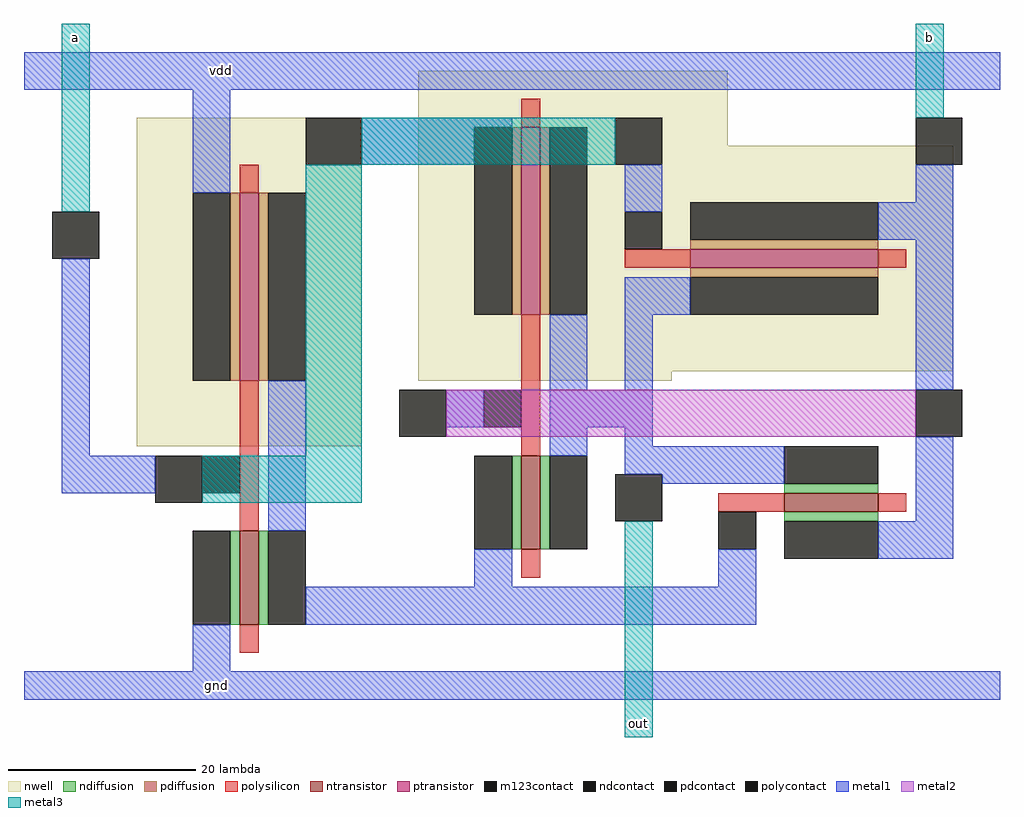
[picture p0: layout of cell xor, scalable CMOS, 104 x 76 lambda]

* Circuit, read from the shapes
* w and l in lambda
.subckt xor a b gnd out vdd
M1 n1 a gnd VSUBS nfet w=10 l=2
M2 out b n1 VSUBS nfet w=10 l=2
M3 out n1 b VSUBS nfet w=10 l=2
M4 n1 a vdd n2 pfet w=20 l=2
M5 out b a n3 pfet w=20 l=2
M6 b a out n3 pfet w=20 l=2
.ends

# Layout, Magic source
magic
tech scmos
<< nwell >>
rect 93 -6 117 29
rect 123 26 156 34
rect 123 2 180 26
rect 123 1 150 2
<< ntransistor >>
rect 104 -25 106 -15
rect 134 -17 136 -7
rect 162 -13 172 -11
<< ptransistor >>
rect 104 1 106 21
rect 134 8 136 28
rect 152 13 172 15
<< ndiffusion >>
rect 103 -25 104 -15
rect 106 -25 107 -15
rect 133 -17 134 -7
rect 136 -17 137 -7
rect 162 -11 172 -10
rect 162 -14 172 -13
<< pdiffusion >>
rect 103 1 104 21
rect 106 1 107 21
rect 133 8 134 28
rect 136 8 137 28
rect 152 15 172 16
rect 152 12 172 13
<< ndcontact >>
rect 99 -25 103 -15
rect 107 -25 111 -15
rect 129 -17 133 -7
rect 137 -17 141 -7
rect 162 -10 172 -6
rect 162 -18 172 -14
<< pdcontact >>
rect 99 1 103 21
rect 107 1 111 21
rect 129 8 133 28
rect 137 8 141 28
rect 152 16 172 20
rect 152 8 172 12
<< polysilicon >>
rect 134 28 136 31
rect 104 21 106 24
rect 145 13 152 15
rect 172 13 175 15
rect 104 -15 106 1
rect 134 -7 136 8
rect 155 -13 162 -11
rect 172 -13 175 -11
rect 134 -20 136 -17
rect 104 -28 106 -25
<< polycontact >>
rect 145 15 149 19
rect 100 -11 104 -7
rect 130 -4 134 0
rect 155 -17 159 -13
<< metal1 >>
rect 81 32 185 36
rect 99 21 103 32
rect 117 28 133 29
rect 117 24 129 28
rect 85 -7 88 14
rect 145 19 149 24
rect 176 20 180 24
rect 172 16 180 20
rect 85 -11 95 -7
rect 107 -15 111 1
rect 137 0 141 8
rect 145 8 152 12
rect 145 0 148 8
rect 126 -4 130 0
rect 137 -4 148 0
rect 137 -7 141 -4
rect 145 -6 148 -4
rect 176 0 180 16
rect 145 -9 162 -6
rect 149 -10 162 -9
rect 176 -14 180 -5
rect 129 -21 133 -17
rect 155 -21 159 -17
rect 172 -18 180 -14
rect 111 -25 159 -21
rect 99 -30 103 -25
rect 81 -33 185 -30
<< metal2 >>
rect 126 -5 176 0
<< m123contact >>
rect 111 24 117 29
rect 144 24 149 29
rect 176 24 181 29
rect 84 14 89 19
rect 121 -5 126 0
rect 176 -5 181 0
rect 95 -12 100 -7
rect 144 -14 149 -9
<< metal3 >>
rect 85 19 88 39
rect 176 29 179 39
rect 117 24 144 29
rect 111 -7 117 24
rect 100 -12 117 -7
rect 145 -37 148 -14
<< labels >>
rlabel metal1 102 34 102 34 5 vdd
rlabel metal3 86 37 87 38 4 a
rlabel metal3 177 37 178 38 6 b
rlabel metal3 146 -36 147 -35 1 out
rlabel metal1 101 -32 102 -31 1 gnd
<< end >>
